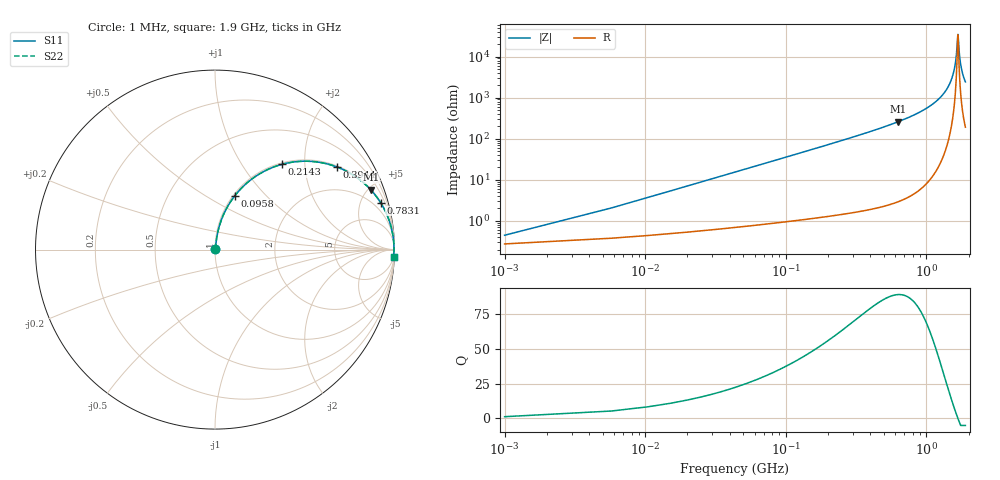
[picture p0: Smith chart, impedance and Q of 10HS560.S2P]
! Coilcraft 1008CS-560 Chip Inductor
! 02 July 2002
# MHZ S MA R 50
!Freq  MagS11  AngS11  MagS21  AngS21  MagS12  AngS12  MagS22  AngS22
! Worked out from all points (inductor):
!   402 points, 1 MHz to 1.9 GHz, reference 50 ohm
!   read as one part in series: L = 56 nH near 10.48 MHz
!   highest Q = 88.9 at 631.4 MHz (marker M1), where L = 65.2 nH
!   self-resonance near 1.679 GHz
!   S11 on the Smith chart (normalised r, x): 1 MHz: 1.01, +0.01; 95.8 MHz: 1.02, +0.68; 214.3 MHz: 1.03, +1.53; 394.4 MHz: 1.04, +2.94; 783.1 MHz: 1.08, +7.04; 1.9 GHz: 5, -48
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1  0.004447 51.9  0.9973 -0.2  0.9973 -0.2  0.004447 51.9
15.22  0.05344 81.7  0.9937 -3.1  0.9937 -3.1  0.05344 81.7
29.44  0.1026 80.8  0.9888 -5.9  0.9888 -5.9  0.1026 80.8
57.88  0.1985 76.4  0.9727 -11.4  0.9727 -11.4  0.1985 76.4
95.8  0.3178 69.9  0.9395 -18.5  0.9395 -18.5  0.3178 69.9
214.3  0.6034 51.9  0.7871 -37.1  0.7871 -37.1  0.6034 51.9
318.58  0.753 40.4  0.6476 -48.8  0.6476 -48.8  0.753 40.4
394.42  0.8217 34.0  0.5595 -55.3  0.5595 -55.3  0.8217 34.0
631.42  0.9292 21.1  0.3592 -68.3  0.3592 -68.3  0.9292 21.1
636.16  0.9304 20.9  0.3562 -68.5  0.3562 -68.5  0.9304 20.9
783.1  0.959 15.8  0.2725 -73.5  0.2725 -73.5  0.959 15.8
953.74  0.9776 11.4  0.1976 -77.8  0.1976 -77.8  0.9776 11.4
1271.32  0.993 5.5  0.09511 -83.1  0.09511 -83.1  0.993 5.5
1465.66  0.9963 2.7  0.04648 -84.2  0.04648 -84.2  0.9963 2.7
1584.16  0.9971 1.2  0.02029 -81.2  0.02029 -81.2  0.9971 1.2
1631.56  0.9972 0.6  0.01053 -74.1  0.01053 -74.1  0.9972 0.6
1674.22  0.9972 0.1  0.003198 -27.0  0.003198 -27.0  0.9972 0.1
1683.7  0.9971 -0.0  0.002897 8.8  0.002897 8.8  0.9971 -0.0
1726.36  0.997 -0.5  0.00935 71.2  0.00935 71.2  0.997 -0.5
1759.54  0.9969 -0.9  0.01558 78.1  0.01558 78.1  0.9969 -0.9
1821.16  0.9965 -1.5  0.02708 81.9  0.02708 81.9  0.9965 -1.5
1900  0.9959 -2.4  0.04135 83.1  0.04135 83.1  0.9959 -2.4
